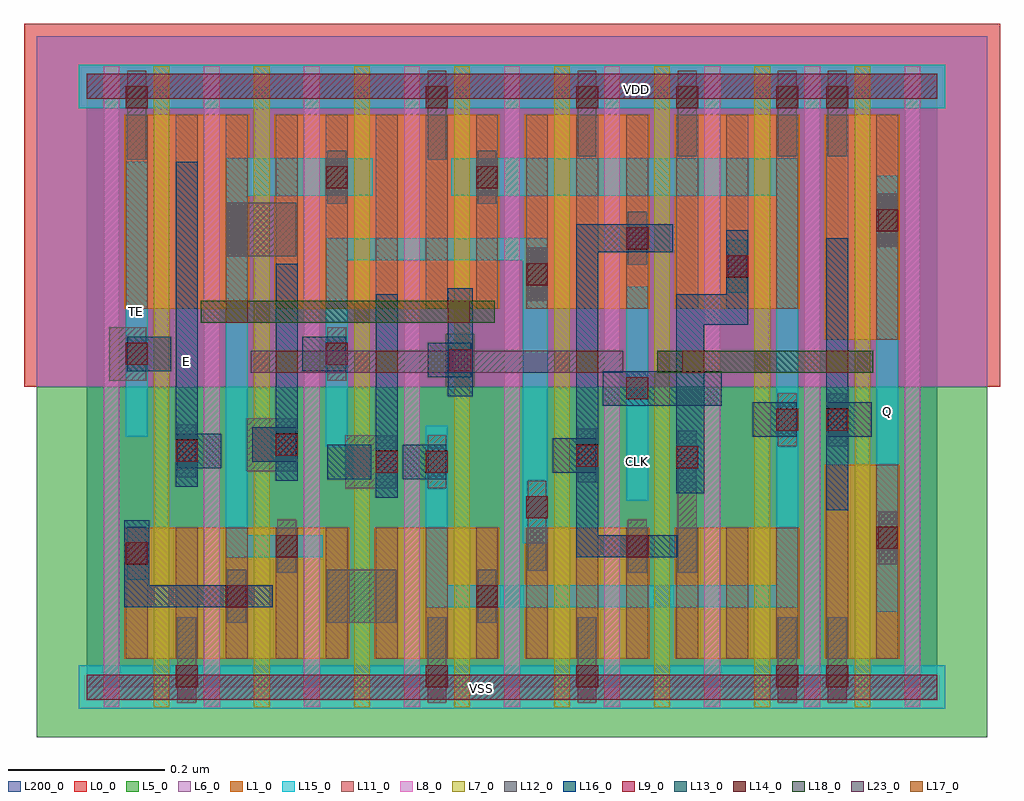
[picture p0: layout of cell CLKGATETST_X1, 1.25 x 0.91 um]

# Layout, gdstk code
import gdstk
lib = gdstk.Library(unit=1e-6, precision=1e-09)
def R(c, l, rs):  # rectangles x0, y0, x1, y1
    for r in rs: c.add(gdstk.rectangle(r[:2], r[2:], *l))
def A(c, l, x, y, w, h, nx, ny, dx, dy):  # array of equal rectangles
    R(c, l, [(x+i*dx, y+j*dy, x+i*dx+w, y+j*dy+h) for i in range(nx) for j in range(ny)])
def P(c, l, *ps):  # polygons
    for p in ps: c.add(gdstk.Polygon(p, *l))
L0_0 = (0, 0)
L1_0 = (1, 0)
L5_0 = (5, 0)
L6_0 = (6, 0)
L7_0 = (7, 0)
L8_0 = (8, 0)
L9_0 = (9, 0)
L11_0 = (11, 0)
L12_0 = (12, 0)
L13_0 = (13, 0)
L14_0 = (14, 0)
L15_0 = (15, 0)
L16_0 = (16, 0)
L17_0 = (17, 0)
L18_0 = (18, 0)
L23_0 = (23, 0)
L200_0 = (200, 0)

clkgatetst_x1 = lib.new_cell('CLKGATETST_X1')
R(clkgatetst_x1, L0_0, [(-0.08,0.384,1.168,0.848)])
A(clkgatetst_x1, L1_0, 0.368, 0.036, 0.16, 0.168, 3, 1, 0.192, 0)
R(clkgatetst_x1, L1_0, [(0.048,0.036,0.336,0.204), (0.944,0.036,1.04,0.284), (0.944,0.444,1.04,0.732), (0.048,0.484,0.208,0.732), (0.24,0.484,0.528,0.732), (0.56,0.484,0.72,0.732), (0.752,0.484,0.912,0.732)])
R(clkgatetst_x1, L5_0, [(-0.064,-0.064,1.152,0.384)])
R(clkgatetst_x1, L6_0, [(-0.064,0.384,1.152,0.832)])
A(clkgatetst_x1, L7_0, 0.086, -0.026, 0.02, 0.82, 8, 1, 0.128, 0)
A(clkgatetst_x1, L8_0, 0.022, -0.026, 0.02, 0.82, 9, 1, 0.128, 0)
R(clkgatetst_x1, L9_0, [(0,-0.016,1.088,0.016), (0,0.752,1.088,0.784)])
A(clkgatetst_x1, L11_0, 0.05, 0.036, 0.028, 0.168, 14, 1, 0.064, 0)
A(clkgatetst_x1, L11_0, 0.05, 0.484, 0.028, 0.248, 14, 1, 0.064, 0)
R(clkgatetst_x1, L11_0, [(0.946,0.036,0.974,0.284), (1.01,0.036,1.038,0.284), (0.946,0.444,0.974,0.732), (1.01,0.444,1.038,0.732)])
A(clkgatetst_x1, L12_0, 0.628, 0.679, 0.024, 0.109, 3, 1, 0.128, 0)
R(clkgatetst_x1, L12_0, [(0.116,-0.02,0.14,0.089), (0.436,-0.02,0.46,0.089), (0.628,-0.02,0.652,0.089), (0.884,-0.02,0.908,0.089), (0.948,-0.02,0.972,0.089), (0.18,0.082,0.204,0.15), (0.308,0.082,0.396,0.15), (0.5,0.082,0.524,0.15), (0.052,0.137,0.076,0.205), (0.244,0.146,0.268,0.214), (0.692,0.146,0.716,0.214), (0.756,0.146,0.78,0.328), (0.564,0.149,0.588,0.264), (1.012,0.157,1.036,0.225), (0.331,0.254,0.396,0.322), (0.436,0.254,0.46,0.322), (0.628,0.262,0.652,0.33), (0.116,0.268,0.14,0.336), (0.205,0.276,0.268,0.344), (0.884,0.308,0.908,0.376), (0.948,0.308,0.972,0.376), (0.459,0.384,0.496,0.452), (0.029,0.392,0.076,0.46), (0.308,0.392,0.332,0.46), (0.564,0.494,0.588,0.562), (0.82,0.504,0.844,0.572), (0.692,0.54,0.716,0.608), (0.18,0.551,0.268,0.619), (1.012,0.563,1.036,0.631), (0.308,0.618,0.332,0.686), (0.5,0.618,0.524,0.686), (0.052,0.674,0.076,0.788), (0.436,0.674,0.46,0.788), (0.948,0.679,0.972,0.788)])
R(clkgatetst_x1, L13_0, [(0.308,0.266,0.364,0.31), (0.404,0.266,0.46,0.31), (0.596,0.274,0.652,0.318), (0.116,0.28,0.172,0.324), (0.212,0.288,0.268,0.332), (0.852,0.32,0.908,0.364), (0.948,0.32,1.004,0.364), (0.66,0.36,0.812,0.404), (0.436,0.396,0.492,0.44), (0.052,0.404,0.108,0.448), (0.276,0.404,0.332,0.448)])
A(clkgatetst_x1, L14_0, 0.626, 0.74, 0.028, 0.028, 3, 1, 0.128, 0)
R(clkgatetst_x1, L14_0, [(0.114,0,0.142,0.028), (0.434,0,0.462,0.028), (0.626,0,0.654,0.028), (0.882,0,0.91,0.028), (0.946,0,0.974,0.028), (0.178,0.102,0.206,0.13), (0.498,0.102,0.526,0.13), (0.05,0.157,0.078,0.185), (0.242,0.166,0.27,0.194), (0.69,0.166,0.718,0.194), (1.01,0.177,1.038,0.205), (0.562,0.216,0.59,0.244), (0.37,0.274,0.398,0.302), (0.434,0.274,0.462,0.302), (0.754,0.28,0.782,0.308), (0.626,0.282,0.654,0.31), (0.114,0.288,0.142,0.316), (0.242,0.296,0.27,0.324), (0.882,0.328,0.91,0.356), (0.946,0.328,0.974,0.356), (0.69,0.368,0.718,0.396), (0.464,0.404,0.492,0.432), (0.05,0.412,0.078,0.44), (0.306,0.412,0.334,0.44), (0.562,0.514,0.59,0.542), (0.818,0.524,0.846,0.552), (0.69,0.56,0.718,0.588), (1.01,0.583,1.038,0.611), (0.306,0.638,0.334,0.666), (0.498,0.638,0.526,0.666), (0.05,0.74,0.078,0.768), (0.434,0.74,0.462,0.768), (0.946,0.74,0.974,0.768)])
R(clkgatetst_x1, L15_0, [(-0.01,-0.028,1.098,0.028), (1.01,0.096,1.038,0.654), (0.69,0.238,0.718,0.512), (0.05,0.32,0.078,0.672), (-0.01,0.74,1.098,0.796)])
P(clkgatetst_x1, L15_0, [(0.206,0.628),(0.366,0.628),(0.366,0.676),(0.178,0.676),(0.178,0.166),(0.302,0.166),(0.302,0.194),(0.206,0.194)],
  [(0.306,0.307),(0.334,0.307),(0.334,0.546),(0.558,0.546),(0.558,0.184),(0.59,0.184),(0.59,0.574),(0.306,0.574)],
  [(0.466,0.628),(0.882,0.628),(0.882,0.13),(0.462,0.13),(0.462,0.334),(0.434,0.334),(0.434,0.102),(0.91,0.102),(0.91,0.676),(0.466,0.676)])
R(clkgatetst_x1, L16_0, [(0.946,0.226,0.974,0.574), (0.37,0.242,0.398,0.502), (0.114,0.256,0.142,0.672), (0.242,0.264,0.27,0.541), (0.462,0.372,0.494,0.51)])
P(clkgatetst_x1, L16_0, [(0.048,0.102),(0.238,0.102),(0.238,0.13),(0.08,0.13),(0.08,0.213),(0.048,0.213)],
  [(0.626,0.166),(0.755,0.166),(0.755,0.194),(0.654,0.194),(0.654,0.556),(0.75,0.556),(0.75,0.592),(0.626,0.592)],
  [(0.754,0.248),(0.79,0.248),(0.79,0.463),(0.846,0.463),(0.846,0.584),(0.818,0.584),(0.818,0.502),(0.754,0.502)])
R(clkgatetst_x1, L17_0, [(0.242,0.402,0.27,0.43), (0.37,0.402,0.398,0.43), (0.626,0.402,0.654,0.43), (0.762,0.402,0.79,0.43), (0.946,0.402,0.974,0.43), (0.178,0.466,0.206,0.494), (0.462,0.466,0.49,0.494)])
R(clkgatetst_x1, L18_0, [(0.73,0.402,1.006,0.43), (0.146,0.466,0.522,0.494)])
R(clkgatetst_x1, L23_0, [(0.21,0.402,0.686,0.43)])
R(clkgatetst_x1, L200_0, [(0,0,1.088,0.768)])
clkgatetst_x1.add(gdstk.Label('VSS', (0.505,-0.002), layer=15, texttype=20))
clkgatetst_x1.add(gdstk.Label('CLK', (0.704,0.289), layer=15, texttype=20))
clkgatetst_x1.add(gdstk.Label('Q', (1.024,0.352), layer=15, texttype=20))
clkgatetst_x1.add(gdstk.Label('TE', (0.064,0.48), layer=15, texttype=20))
clkgatetst_x1.add(gdstk.Label('VDD', (0.703,0.764), layer=15, texttype=20))
clkgatetst_x1.add(gdstk.Label('E', (0.128,0.416), layer=16, texttype=20))

lib.write_gds('CLKGATETST_X1.gds')
